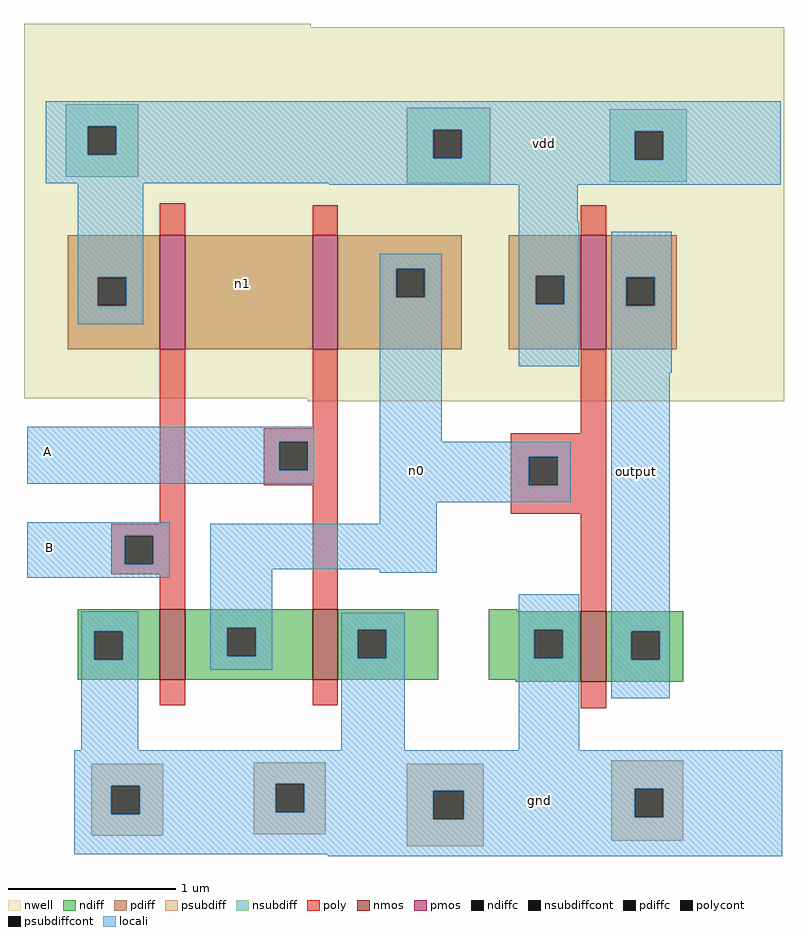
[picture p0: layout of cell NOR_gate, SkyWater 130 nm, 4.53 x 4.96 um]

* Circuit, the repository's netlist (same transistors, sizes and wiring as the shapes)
* NGSPICE file created from NOR_gate.ext - technology: sky130A


* Top level circuit NOR_gate

X0 n1 B vdd vdd sky130_fd_pr__pfet_01v8 ad=5.168e+11p pd=2.88e+06u as=6.664e+11p ps=4.68e+06u w=680000u l=150000u
X1 n0 A n1 vdd sky130_fd_pr__pfet_01v8 ad=5.032e+11p pd=2.84e+06u as=0p ps=0u w=680000u l=150000u
X2 output n0 vdd vdd sky130_fd_pr__pfet_01v8 ad=2.856e+11p pd=2.2e+06u as=0p ps=0u w=680000u l=150000u
X3 gnd A n0 gnd sky130_fd_pr__nfet_01v8 ad=6.889e+11p pd=5.82e+06u as=3.192e+11p ps=2.36e+06u w=420000u l=150000u
X4 output n0 gnd gnd sky130_fd_pr__nfet_01v8 ad=1.932e+11p pd=1.76e+06u as=0p ps=0u w=420000u l=150000u
X5 n0 B gnd gnd sky130_fd_pr__nfet_01v8 ad=0p pd=0u as=0p ps=0u w=420000u l=150000u
.end

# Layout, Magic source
magic
tech sky130A
<< nwell >>
rect -332 206 -161 208
rect -332 -15 121 206
rect -163 -17 121 -15
<< nmos >>
rect -251 -183 -236 -141
rect -160 -183 -145 -141
rect 0 -184 15 -142
<< pmos >>
rect -251 14 -236 82
rect -160 14 -145 82
rect 0 14 15 82
<< ndiff >>
rect -300 -154 -251 -141
rect -300 -171 -290 -154
rect -273 -171 -251 -154
rect -300 -183 -251 -171
rect -236 -152 -160 -141
rect -236 -169 -211 -152
rect -194 -169 -160 -152
rect -236 -183 -160 -169
rect -145 -153 -85 -141
rect -145 -170 -133 -153
rect -116 -170 -85 -153
rect -145 -183 -85 -170
rect -55 -142 -38 -141
rect -55 -153 0 -142
rect -55 -170 -28 -153
rect -11 -170 0 -153
rect -55 -183 0 -170
rect -39 -184 0 -183
rect 15 -154 61 -142
rect 15 -171 30 -154
rect 47 -171 61 -154
rect 15 -184 61 -171
<< pdiff >>
rect -306 57 -251 82
rect -306 40 -288 57
rect -271 40 -251 57
rect -306 14 -251 40
rect -236 14 -160 82
rect -145 62 -71 82
rect -145 45 -110 62
rect -93 45 -71 62
rect -145 14 -71 45
rect -43 58 0 82
rect -43 41 -27 58
rect -10 41 0 58
rect -43 14 0 41
rect 15 57 57 82
rect 15 40 27 57
rect 44 40 57 57
rect 15 14 57 40
<< ndiffc >>
rect -290 -171 -273 -154
rect -211 -169 -194 -152
rect -133 -170 -116 -153
rect -28 -170 -11 -153
rect 30 -171 47 -154
<< pdiffc >>
rect -288 40 -271 57
rect -110 45 -93 62
rect -27 41 -10 58
rect 27 40 44 57
<< psubdiff >>
rect -292 -246 -249 -233
rect -292 -263 -280 -246
rect -263 -263 -249 -246
rect -292 -276 -249 -263
rect -195 -245 -152 -232
rect -195 -262 -182 -245
rect -165 -262 -152 -245
rect -195 -275 -152 -262
rect -104 -249 -58 -233
rect -104 -266 -88 -249
rect -70 -266 -58 -249
rect -104 -282 -58 -266
rect 18 -248 61 -231
rect 18 -265 32 -248
rect 49 -265 61 -248
rect 18 -279 61 -265
<< nsubdiff >>
rect -307 147 -264 160
rect -307 130 -294 147
rect -277 130 -264 147
rect -307 117 -264 130
rect -104 145 -54 158
rect -104 128 -88 145
rect -71 128 -54 145
rect -104 113 -54 128
rect 17 144 63 157
rect 17 127 32 144
rect 49 127 63 144
rect 17 114 63 127
<< psubdiffcont >>
rect -280 -263 -263 -246
rect -182 -262 -165 -245
rect -88 -266 -70 -249
rect 32 -265 49 -248
<< nsubdiffcont >>
rect -294 130 -277 147
rect -88 128 -71 145
rect 32 127 49 144
<< poly >>
rect -251 82 -236 101
rect -160 82 -145 100
rect 0 82 15 100
rect -251 -90 -236 14
rect -160 -33 -145 14
rect -189 -41 -145 -33
rect 0 -36 15 14
rect -189 -58 -180 -41
rect -163 -58 -145 -41
rect -189 -67 -145 -58
rect -280 -97 -236 -90
rect -280 -114 -272 -97
rect -255 -114 -236 -97
rect -280 -120 -236 -114
rect -251 -141 -236 -120
rect -160 -141 -145 -67
rect -42 -50 15 -36
rect -42 -67 -31 -50
rect -14 -67 15 -50
rect -42 -84 15 -67
rect 0 -142 15 -84
rect -251 -198 -236 -183
rect -160 -198 -145 -183
rect 0 -200 15 -184
<< polycont >>
rect -180 -58 -163 -41
rect -272 -114 -255 -97
rect -31 -67 -14 -50
<< locali >>
rect -319 147 119 162
rect -319 130 -294 147
rect -277 145 119 147
rect -277 130 -88 145
rect -319 128 -88 130
rect -71 144 119 145
rect -71 128 32 144
rect -319 127 32 128
rect 49 127 119 144
rect -319 113 119 127
rect -300 57 -261 113
rect -150 112 119 113
rect -37 90 -2 112
rect -300 40 -288 57
rect -271 40 -261 57
rect -300 29 -261 40
rect -120 62 -83 71
rect -120 45 -110 62
rect -93 45 -83 62
rect -330 -41 -159 -32
rect -330 -58 -180 -41
rect -163 -58 -159 -41
rect -330 -66 -159 -58
rect -120 -41 -83 45
rect -37 58 -1 90
rect -37 41 -27 58
rect -10 41 -1 58
rect -37 4 -1 41
rect 18 57 54 84
rect 18 40 27 57
rect 44 40 54 57
rect 18 0 54 40
rect -120 -50 -6 -41
rect -120 -67 -31 -50
rect -14 -67 -6 -50
rect -120 -77 -6 -67
rect -330 -97 -245 -89
rect -120 -90 -86 -77
rect -330 -114 -272 -97
rect -255 -114 -245 -97
rect -330 -122 -245 -114
rect -221 -117 -86 -90
rect -298 -154 -264 -142
rect -298 -171 -290 -154
rect -273 -171 -264 -154
rect -298 -225 -264 -171
rect -221 -152 -184 -117
rect -120 -119 -86 -117
rect -221 -169 -211 -152
rect -194 -169 -184 -152
rect -221 -177 -184 -169
rect -143 -153 -105 -143
rect -143 -170 -133 -153
rect -116 -170 -105 -153
rect -143 -225 -105 -170
rect -37 -153 -1 -132
rect -37 -170 -28 -153
rect -11 -170 -1 -153
rect -37 -225 -1 -170
rect 18 -154 53 0
rect 18 -171 30 -154
rect 47 -171 53 -154
rect 18 -194 53 -171
rect -302 -245 120 -225
rect -302 -246 -182 -245
rect -302 -263 -280 -246
rect -263 -262 -182 -246
rect -165 -248 120 -245
rect -165 -249 32 -248
rect -165 -262 -88 -249
rect -263 -263 -88 -262
rect -302 -266 -88 -263
rect -70 -265 32 -249
rect 49 -265 120 -248
rect -70 -266 120 -265
rect -302 -287 120 -266
rect -151 -288 120 -287
<< labels >>
rlabel locali 33 -59 33 -59 1 output
rlabel locali -98 -58 -98 -58 1 n0
rlabel locali -318 -47 -318 -47 1 A
rlabel locali -317 -104 -317 -104 1 B
rlabel locali -25 -255 -25 -255 1 gnd
rlabel locali -22 137 -22 137 1 vdd
rlabel pdiff -202 53 -202 53 1 n1
<< end >>
